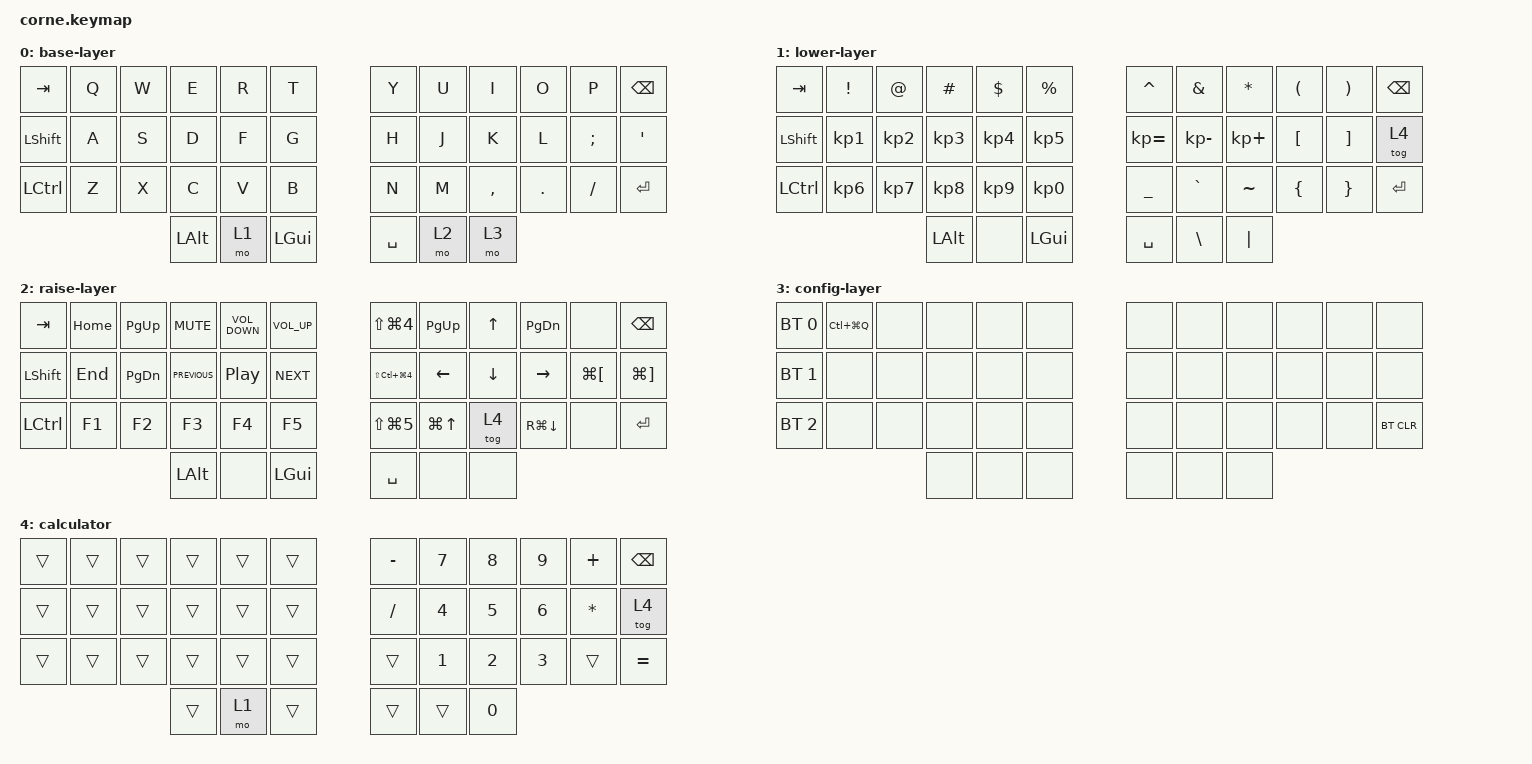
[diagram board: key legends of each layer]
/*
 * Copyright (c) 2020 The ZMK Contributors
 *
 * SPDX-License-Identifier: MIT
 */

#include <behaviors.dtsi>
#include <dt-bindings/zmk/bt.h>
#include <dt-bindings/zmk/keys.h>

/ {
    combos {
        compatible = "zmk,combos";

        Escape {
            bindings = <&kp ESCAPE>;
            key-positions = <1 0>;
        };

        Capslock {
            bindings = <&kp CAPSLOCK>;
            key-positions = <0 12 24>;
        };

        Delete {
            bindings = <&kp DELETE>;
            key-positions = <10 11>;
        };
    };

    behaviors {
        multi_mod_hold: multi_mod_hold {
            compatible = "zmk,behavior-hold-tap";
            label = "Hold Space + Sticky Mods";
            bindings = <&kp>, <&kp>;

            #binding-cells = <2>;
            tapping-term-ms = <0>;
        };
    };

    keymap {
        compatible = "zmk,keymap";

        base-layer {
            // -----------------------------------------------------------------------------------------
            // |  TAB |  Q  |  W  |  E  |  R  |  T  |   |  Y  |  U   |  I  |  O  |  P  | BKSP |
            // | CTRL |  A  |  S  |  D  |  F  |  G  |   |  H  |  J   |  K  |  L  |  ;  |  '   |
            // | SHFT |  Z  |  X  |  C  |  V  |  B  |   |  N  |  M   |  ,  |  .  |  /  | ESC  |
            //                    | GUI | LWR | SPC |   | ENT | RSE  | ALT |

            bindings = <
&kp TAB    &kp Q  &kp W  &kp E     &kp R  &kp T       &kp Y      &kp U  &kp I      &kp O    &kp P     &kp BSPC
&kp LSHFT  &kp A  &kp S  &kp D     &kp F  &kp G       &kp H      &kp J  &kp K      &kp L    &kp SEMI  &kp SQT
&kp LCTRL  &kp Z  &kp X  &kp C     &kp V  &kp B       &kp N      &kp M  &kp COMMA  &kp DOT  &kp FSLH  &kp RET
                         &kp LALT  &mo 1  &kp LGUI    &kp SPACE  &mo 2  &mo 3
            >;
        };

        lower-layer {
            // -----------------------------------------------------------------------------------------
            // |  TAB |  1  |  2  |  3  |  4  |  5  |   |  6  |  7  |  8  |  9  |  0  | BKSP |
            // | BTCLR| BT1 | BT2 | BT3 | BT4 | BT5 |   | LFT | DWN |  UP | RGT |     |      |
            // | SHFT |     |     |     |     |     |   |     |     |     |     |     |      |
            //                    | GUI |     | SPC |   | ENT |     | ALT |

            bindings = <
&kp TAB    &kp EXCLAMATION  &kp AT_SIGN      &kp HASH         &kp DOLLAR       &kp PERCENT        &kp CARET       &kp AMPERSAND  &kp ASTERISK  &kp LEFT_PARENTHESIS  &kp RIGHT_PARENTHESIS  &kp BSPC
&kp LSHFT  &kp KP_NUMBER_1  &kp KP_NUMBER_2  &kp KP_NUMBER_3  &kp KP_NUMBER_4  &kp KP_NUMBER_5    &kp KP_EQUAL    &kp KP_MINUS   &kp KP_PLUS   &kp LBKT              &kp RBKT               &tog 4
&kp LCTRL  &kp KP_NUMBER_6  &kp KP_NUMBER_7  &kp KP_NUMBER_8  &kp KP_NUMBER_9  &kp KP_NUMBER_0    &kp UNDERSCORE  &kp GRAVE      &kp TILDE     &kp LEFT_BRACE        &kp RIGHT_BRACE        &kp RET
                                             &kp LALT         &none            &kp LGUI           &kp SPACE       &kp BACKSLASH  &kp PIPE
            >;
        };

        raise-layer {
            // -----------------------------------------------------------------------------------------
            // |  TAB |  !  |  @  |  #  |  $  |  %  |   |  ^  |  &  |  *  |  (  |  )  | BKSP |
            // | CTRL |     |     |     |     |     |   |  -  |  =  |  [  |  ]  |  \  |  `   |
            // | SHFT |     |     |     |     |     |   |  _  |  +  |  {  |  }  | "|" |  ~   |
            //                    | GUI |     | SPC |   | ENT |     | ALT |

            bindings = <
&kp TAB    &kp HOME  &kp PAGE_UP    &kp K_MUTE      &kp C_VOLUME_DOWN  &kp C_VOLUME_UP    &kp LS(LG(N4))      &kp PAGE_UP       &kp UP    &kp PAGE_DOWN       &none                 &kp BSPC
&kp LSHFT  &kp END   &kp PAGE_DOWN  &kp C_PREVIOUS  &kp C_PLAY_PAUSE   &kp C_NEXT         &kp LS(LC(LG(N4)))  &kp LEFT          &kp DOWN  &kp RIGHT           &kp LG(LEFT_BRACKET)  &kp LG(RIGHT_BRACKET)
&kp LCTRL  &kp F1    &kp F2         &kp F3          &kp F4             &kp F5             &kp LS(LG(N5))      &kp LG(UP_ARROW)  &tog 4    &kp RG(DOWN_ARROW)  &none                 &kp RET
                                    &kp LALT        &none              &kp LGUI           &kp SPACE           &none             &none
            >;
        };

        config-layer {
            bindings = <
&bt BT_SEL 0  &kp LC(LG(Q))  &none  &none  &none  &none    &none  &none  &none  &none  &none  &none
&bt BT_SEL 1  &none          &none  &none  &none  &none    &none  &none  &none  &none  &none  &none
&bt BT_SEL 2  &none          &none  &none  &none  &none    &none  &none  &none  &none  &none  &bt BT_CLR
                                    &none  &none  &none    &none  &none  &none
            >;
        };

        calculator {
            bindings = <
&trans  &trans  &trans  &trans  &trans  &trans    &kp MINUS  &kp N7  &kp N8  &kp N9  &kp PLUS  &kp BACKSPACE
&trans  &trans  &trans  &trans  &trans  &trans    &kp FSLH   &kp N4  &kp N5  &kp N6  &kp STAR  &tog 4
&trans  &trans  &trans  &trans  &trans  &trans    &trans     &kp N1  &kp N2  &kp N3  &trans    &kp EQUAL
                        &trans  &mo 1   &trans    &trans     &trans  &kp N0
            >;
        };
    };
};
